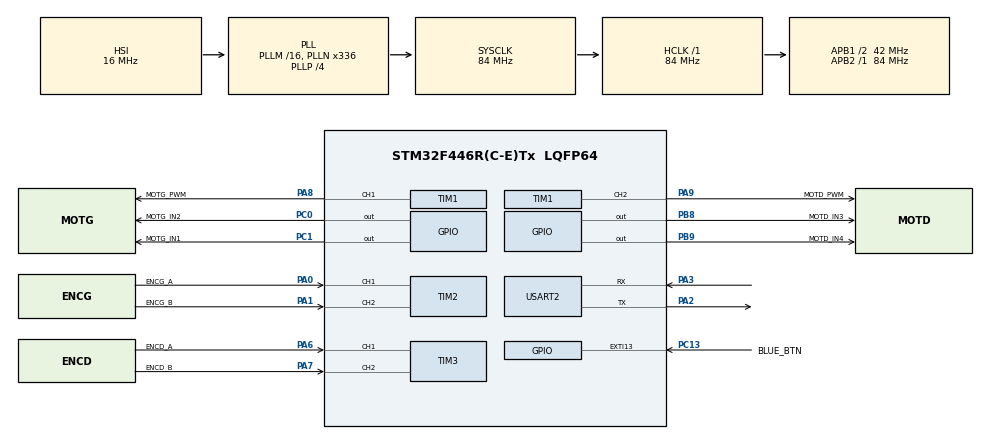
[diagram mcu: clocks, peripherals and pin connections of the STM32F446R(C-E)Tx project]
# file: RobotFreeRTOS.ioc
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FREERTOS.Tasks01=defaultTask,0,128,StartDefaultTask,Default,NULL,Dynamic,NULL,NULL
FREERTOS.configUSE_NEWLIB_REENTRANT=1
Mcu.Family=STM32F4
Mcu.Name=STM32F446R(C-E)Tx
Mcu.Package=LQFP64
NVIC.EXTI15_10_IRQn=true\:5\:0\:false\:false\:true\:true\:true
NVIC.PriorityGroup=NVIC_PRIORITYGROUP_4
NVIC.TIM6_DAC_IRQn=true\:15\:0\:false\:false\:true\:false\:false
NVIC.TimeBase=TIM6_DAC_IRQn
NVIC.TimeBaseIP=TIM6
NVIC.USART2_IRQn=true\:5\:0\:false\:false\:true\:true\:true
PA0-WKUP.GPIO_Label=ENCG_A
PA0-WKUP.GPIO_ModeDefaultPP=GPIO_MODE_AF_PP
PA0-WKUP.GPIO_PuPd=GPIO_NOPULL
PA0-WKUP.GPIO_Speed=GPIO_SPEED_FREQ_LOW
PA0-WKUP.Signal=S_TIM2_CH1_ETR
PA1.GPIO_Label=ENCG_B
PA1.GPIO_ModeDefaultPP=GPIO_MODE_AF_PP
PA1.GPIO_PuPd=GPIO_NOPULL
PA1.GPIO_Speed=GPIO_SPEED_FREQ_LOW
PA1.Signal=S_TIM2_CH2
PA13.Mode=Serial_Wire
PA13.Signal=SYS_JTMS-SWDIO
PA14.Mode=Serial_Wire
PA14.Signal=SYS_JTCK-SWCLK
PA2.Mode=Asynchronous
PA2.Signal=USART2_TX
PA3.Mode=Asynchronous
PA3.Signal=USART2_RX
PA6.GPIO_Label=ENCD_A
PA6.Signal=S_TIM3_CH1
PA7.GPIO_Label=ENCD_B
PA7.Signal=S_TIM3_CH2
PA8.GPIO_Label=MOTG_PWM
PA8.Signal=S_TIM1_CH1
PA9.GPIO_Label=MOTD_PWM
PA9.Signal=S_TIM1_CH2
PB8.GPIO_Label=MOTD_IN3
PB8.Signal=GPIO_Output
PB9.GPIO_Label=MOTD_IN4
PB9.Signal=GPIO_Output
PC0.GPIO_Label=MOTG_IN2
PC0.Signal=GPIO_Output
PC1.GPIO_Label=MOTG_IN1
PC1.Signal=GPIO_Output
PC13.GPIO_Label=BLUE_BTN
PC13.Signal=GPXTI13
PH0-OSC_IN.Mode=HSE-External-Oscillator
PH0-OSC_IN.Signal=RCC_OSC_IN
PH1-OSC_OUT.Mode=HSE-External-Oscillator
PH1-OSC_OUT.Signal=RCC_OSC_OUT
ProjectManager.HeapSize=0x200
ProjectManager.StackSize=0x400
ProjectManager.TargetToolchain=STM32CubeIDE
RCC.48MHZClocksFreq_Value=84000000
RCC.AHBFreq_Value=84000000
RCC.APB1CLKDivider=RCC_HCLK_DIV2
RCC.APB1Freq_Value=42000000
RCC.APB1TimFreq_Value=84000000
RCC.APB2Freq_Value=84000000
RCC.APB2TimFreq_Value=84000000
RCC.CortexFreq_Value=84000000
RCC.FLatency-AdvancedSettings=FLASH_LATENCY_2
RCC.HCLKFreq_Value=84000000
RCC.HSE_VALUE=8000000
RCC.HSI_VALUE=16000000
RCC.PLLN=336
RCC.PLLP=RCC_PLLP_DIV4
RCC.SYSCLKFreq_VALUE=84000000
RCC.SYSCLKSource=RCC_SYSCLKSOURCE_PLLCLK
RCC.USBFreq_Value=168000000
RCC.VCOOutputFreq_Value=336000000
SH.S_TIM1_CH1.0=TIM1_CH1,PWM Generation1 CH1
SH.S_TIM1_CH2.0=TIM1_CH2,PWM Generation2 CH2
SH.S_TIM2_CH1_ETR.0=TIM2_CH1,Encoder_Interface
SH.S_TIM2_CH2.0=TIM2_CH2,Encoder_Interface
SH.S_TIM3_CH1.0=TIM3_CH1,Encoder_Interface
SH.S_TIM3_CH2.0=TIM3_CH2,Encoder_Interface
TIM1.Channel-PWM\ Generation1\ CH1=TIM_CHANNEL_1
TIM1.Channel-PWM\ Generation2\ CH2=TIM_CHANNEL_2
TIM1.Period=3360-1
TIM2.EncoderMode=TIM_ENCODERMODE_TI12
TIM3.EncoderMode=TIM_ENCODERMODE_TI12
USART2.VirtualMode=VM_ASYNC
VP_FREERTOS_VS_CMSIS_V1.Mode=CMSIS_V1
VP_SYS_VS_tim6.Mode=TIM6
VP_TIM1_VS_ClockSourceINT.Mode=Internal
board=NUCLEO-F446RE

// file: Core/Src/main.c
/* USER CODE BEGIN Header */
/**
 ******************************************************************************
 * @file           : main.c
 * @brief          : Main program body
 ******************************************************************************
 * @attention
 *
 * <h2><center>&copy; Copyright (c) 2022 STMicroelectronics.
 * All rights reserved.</center></h2>
 *
 * This software component is licensed by ST under BSD 3-Clause license,
 * the "License"; You may not use this file except in compliance with the
 * License. You may obtain a copy of the License at:
 *                        opensource.org/licenses/BSD-3-Clause
 *
 ******************************************************************************
 */
/* USER CODE END Header */
#include "main.h"
#include "cmsis_os.h"
#include "tim.h"
#include "usart.h"
#include "gpio.h"

/* USER CODE BEGIN Includes */
#include <stdlib.h>
#include "BOTterfly-H/shellOS.h"
#include "BOTterfly-H/modules.h"
#include "BOTterfly-H/odometry.h"
#include "BOTterfly-H/strategy.h"
#include "BOTterfly-H/ctrl_speed.h"
#include "BOTterfly-H/ctrl_positionV1.h"
//#include "BOTterfly-H/ctrl_positionV2.h"
/* USER CODE END Includes */

/* USER CODE BEGIN PD */
#define STACK_SIZE 1000
/* USER CODE END PD */

/* USER CODE BEGIN PV */
uint8_t bPower = 0;
float speedValue = 100;
/* USER CODE END PV */

void SystemClock_Config(void);
void MX_FREERTOS_Init(void);

/* USER CODE BEGIN 0 */

/**
 * pinout : Affiche toutes les broches connectées et leur fonction
 * @param argc Nombre d'éléments de la ligne de commande
 * @param argv Éléments sous la forme d'un tableau de chaînes de caractères
 * @return 0
 */
uint8_t pinout(int argc, char ** argv){

	printf(" +-------------------------------------+ \r\n");
	printf(" |               PINOUT                | \r\n");
	printf(" +-------------------------------------+ \r\n");
	printf(" | STM32                | FONCTION     | \r\n");
	printf(" +-------------------------------------+ \r\n");
	printf(" | TIM1_CH1  | PA8(D7)  | MOTG_PWM     | \r\n");
	printf(" | GPIO_OUT  | PC1(A4)  | MOTG_IN1     | \r\n");
	printf(" | GPIO_OUT  | PC0(A5)  | MOTG_IN2     | \r\n");
	printf(" | TIM2      | PA0(A0)  | ENCG_A       | \r\n");
	printf(" | TIM2      | PA1(A1)  | ENCG_B       | \r\n");
	printf(" | TIM1_CH2  | PA9(D8)  | MOTD_PWM     | \r\n");
	printf(" | GPIO_OUT  | PB8(D15) | MOTD_IN3     | \r\n");
	printf(" | GPIO_OUT  | PB9(D14) | MOTD_IN4     | \r\n");
	printf(" | TIM3      | PA6(D12) | ENCD_A       | \r\n");
	printf(" | TIM3      | PA7(D11) | ENCD_B       | \r\n");
	printf(" +-------------------------------------+ \r\n");

	return 0;
}

void start(int argc, char ** argv){
	printf("Demarrage\r\n");
	bPower = 1;
}

void stop(int argc, char ** argv){
	printf("Arret\r\n");
	bPower = 0;
}

void speed(int argc, char ** argv){
	if(argc == 2){
		speedValue = atoi(argv[1]);
	}
}

void target(int argc, char ** argv){
	if(argc == 3){
		float x = atof(argv[1]);
		float y = atof(argv[2]);
		CTRL_Pos1_SetTargetX((double)x);
		CTRL_Pos1_SetTargetY((double)y);
	}
}

void vTaskShell(void * p) {
	shell_init(&(UART_DEVICE));
	shell_add("start", start, "Demarrage");
	shell_add("stop", stop, "Arret");
	shell_add("speed", speed, "Vitesse");
	shell_add("target", target, "Mise a jour de la consigne");

	while(1){
		shell_char_received();
	}
}

void vTaskAsserv(void * p){
	/* Initialisation Moteur Gauche ---------------------*/
	MOT_InitTimer(&MoteurGauche, &htim1, TIM_CHANNEL_1);
	MOT_InitGPIOs(&MoteurGauche,
			MOTG_IN1_GPIO_Port, MOTG_IN1_Pin,
			MOTG_IN2_GPIO_Port, MOTG_IN2_Pin);
	MOT_SetCoeff(&MoteurGauche, 1.2, 0.1);
	MOT_SetDirection(&MoteurGauche, MOT_FUNCTIONS_REVERSE);
	MOT_SetDutyCycle(&MoteurGauche, 0);

	/* Initialisation Moteur Droite ---------------------*/
	MOT_InitTimer(&MoteurDroite, &htim1, TIM_CHANNEL_2);
	MOT_InitGPIOs(&MoteurDroite,
			MOTD_IN3_GPIO_Port, MOTD_IN3_Pin,
			MOTD_IN4_GPIO_Port, MOTD_IN4_Pin);
	MOT_SetCoeff(&MoteurDroite, 1.2, 0.1);
	MOT_SetDirection(&MoteurDroite, MOT_FUNCTIONS_FORWARD);
	MOT_SetDutyCycle(&MoteurDroite, 0);

	/* Initialisation Encodeur Gauche -------------------*/
	ENC_InitTimer(&CodeurGauche, &htim2, TIM_CHANNEL_1, TIM_CHANNEL_2);
	ENC_SetMillimeterPerTick(&CodeurGauche, 0.08200);

	/* Initialisation Encodeur Droite -------------------*/
	ENC_InitTimer(&CodeurDroite, &htim3, TIM_CHANNEL_1, TIM_CHANNEL_2);
	ENC_SetMillimeterPerTick(&CodeurDroite, 0.08125);

	/* Initialisation Odometrie -------------------------*/
	ODO_Init();
	STRAT_strategyInit();

	while(1){

		if(CTRL_Pos1_isArrived()){
			if(indexStrategy >= (int)3){
				//bTypeAsserv = 1;
				//setTargetX(200);
				//setTargetY(100);
			} else {
				CTRL_Pos1_SetTargetX(strategy[indexStrategy].x);
				CTRL_Pos1_SetTargetY(strategy[indexStrategy].y);
				indexStrategy++;
			}

		}

		if(bPower){
			//CTRL_Pos1_PositionControl();
			//CTRL_Pos2_PositionControl();

			// Get ticks from encoders
			int16_t ticksG = ENC_GetCnt(&CodeurGauche);
			int16_t ticksD = ENC_GetCnt(&CodeurDroite);

			// Odometry and speed calculations
			//Odo_OdometryUpdate(ticksG, ticksD);

			// Speed Control Update
			float vitG = CTRL_SpeedControl(&MoteurGauche, &CodeurGauche, ticksG, speedValue);
			float vitD = CTRL_SpeedControl(&MoteurDroite, &CodeurDroite, ticksD, speedValue);

			// Debug
			printf("%d;%d\r\n", (int)ticksG, (int)ticksD);
			//printf("%f;%f\r\n", vitG, vitD);

		} else {
			MOT_SetDutyCycle(&MoteurGauche, 0);
			MOT_SetDutyCycle(&MoteurDroite, 0);
		}

		vTaskDelay(20);
	}
}

/* USER CODE END 0 */

int main(void)
{
	/* USER CODE BEGIN 1 */
	BaseType_t xReturned;
	TaskHandle_t xHandle = NULL;
	/* USER CODE END 1 */

	/* MCU Configuration--------------------------------------------------------*/

	/* Reset of all peripherals, Initializes the Flash interface and the Systick. */
	HAL_Init();

	/* Configure the system clock */
	SystemClock_Config();

	/* Initialize all configured peripherals */
	MX_GPIO_Init();
	MX_USART2_UART_Init();
	MX_TIM1_Init();
	MX_TIM2_Init();
	MX_TIM3_Init();
	/* USER CODE BEGIN 2 */

	/* Initialisation de la tâche pour le Shell ---------*/
	xReturned = xTaskCreate(
			vTaskShell,      	/* Function that implements the task. */
			"Shell",         	/* Text name for the task. */
			STACK_SIZE,      	/* Stack size in words, not bytes. */
			(void *) NULL,    	/* Parameter passed into the task. */
			1,					/* Priority at which the task is created. */
			&xHandle);      	/* Used to pass out the created task's handle. */
	if( xReturned == errCOULD_NOT_ALLOCATE_REQUIRED_MEMORY ) {
		printf("Task Shell creation error: Could not allocate required memory\r\n");
	}

	/* Initialisation de la tâche pour l'asserv ---------*/
	xReturned = xTaskCreate(
			vTaskAsserv,      	// Function that implements the task.
			"Asserv",         	// Text name for the task.
			STACK_SIZE,      	// Stack size in words, not bytes.
			(void *) NULL,    	// Parameter passed into the task.
			2,					// Priority at which the task is created.
			&xHandle);      	// Used to pass out the created task's handle.
	if( xReturned == errCOULD_NOT_ALLOCATE_REQUIRED_MEMORY ) {
		printf("Task Asserv creation error: Could not allocate required memory\r\n");
	}

	/* USER CODE END 2 */

	/* Call init function for freertos objects (in freertos.c) */
	MX_FREERTOS_Init();
	/* Start scheduler */
	osKernelStart();

	/* We should never get here as control is now taken by the scheduler */
	/* Infinite loop */
	while (1)
	{

	}
}

void SystemClock_Config(void)
{
	RCC_OscInitTypeDef RCC_OscInitStruct = {0};
	RCC_ClkInitTypeDef RCC_ClkInitStruct = {0};

	/** Configure the main internal regulator output voltage
	 */
	__HAL_RCC_PWR_CLK_ENABLE();
	__HAL_PWR_VOLTAGESCALING_CONFIG(PWR_REGULATOR_VOLTAGE_SCALE3);
	/** Initializes the RCC Oscillators according to the specified parameters
	 * in the RCC_OscInitTypeDef structure.
	 */
	RCC_OscInitStruct.OscillatorType = RCC_OSCILLATORTYPE_HSI;
	RCC_OscInitStruct.HSIState = RCC_HSI_ON;
	RCC_OscInitStruct.HSICalibrationValue = RCC_HSICALIBRATION_DEFAULT;
	RCC_OscInitStruct.PLL.PLLState = RCC_PLL_ON;
	RCC_OscInitStruct.PLL.PLLSource = RCC_PLLSOURCE_HSI;
	RCC_OscInitStruct.PLL.PLLM = 16;
	RCC_OscInitStruct.PLL.PLLN = 336;
	RCC_OscInitStruct.PLL.PLLP = RCC_PLLP_DIV4;
	RCC_OscInitStruct.PLL.PLLQ = 2;
	RCC_OscInitStruct.PLL.PLLR = 2;
	if (HAL_RCC_OscConfig(&RCC_OscInitStruct) != HAL_OK)
	{
		Error_Handler();
	}
	/** Initializes the CPU, AHB and APB buses clocks
	 */
	RCC_ClkInitStruct.ClockType = RCC_CLOCKTYPE_HCLK|RCC_CLOCKTYPE_SYSCLK
			|RCC_CLOCKTYPE_PCLK1|RCC_CLOCKTYPE_PCLK2;
	RCC_ClkInitStruct.SYSCLKSource = RCC_SYSCLKSOURCE_PLLCLK;
	RCC_ClkInitStruct.AHBCLKDivider = RCC_SYSCLK_DIV1;
	RCC_ClkInitStruct.APB1CLKDivider = RCC_HCLK_DIV2;
	RCC_ClkInitStruct.APB2CLKDivider = RCC_HCLK_DIV1;

	if (HAL_RCC_ClockConfig(&RCC_ClkInitStruct, FLASH_LATENCY_2) != HAL_OK)
	{
		Error_Handler();
	}
}

/* USER CODE BEGIN 4 */

void HAL_GPIO_EXTI_Callback(uint16_t GPIO_Pin){
	if(GPIO_Pin == GPIO_PIN_13){
		if(bPower == 0) {
			bPower = 1;
			printf("Demarrage\r\n");
		}
		else {
			bPower = 0;
			printf("Arret\r\n");
		}
	}
}

void HAL_UART_RxCpltCallback(UART_HandleTypeDef* huart){
	if(huart->Instance == USART2){
		xQueueSendFromISR(qShell, &c, NULL);
		HAL_UART_Receive_IT(&huart2, (uint8_t*)&c, 1);
	}
}

/* USER CODE END 4 */

void HAL_TIM_PeriodElapsedCallback(TIM_HandleTypeDef *htim)
{
	if (htim->Instance == TIM6) {
		HAL_IncTick();
	}
}

void Error_Handler(void)
{
	__disable_irq();
	while (1)
	{
	}
}

/************************ (C) COPYRIGHT STMicroelectronics *****END OF FILE****/
